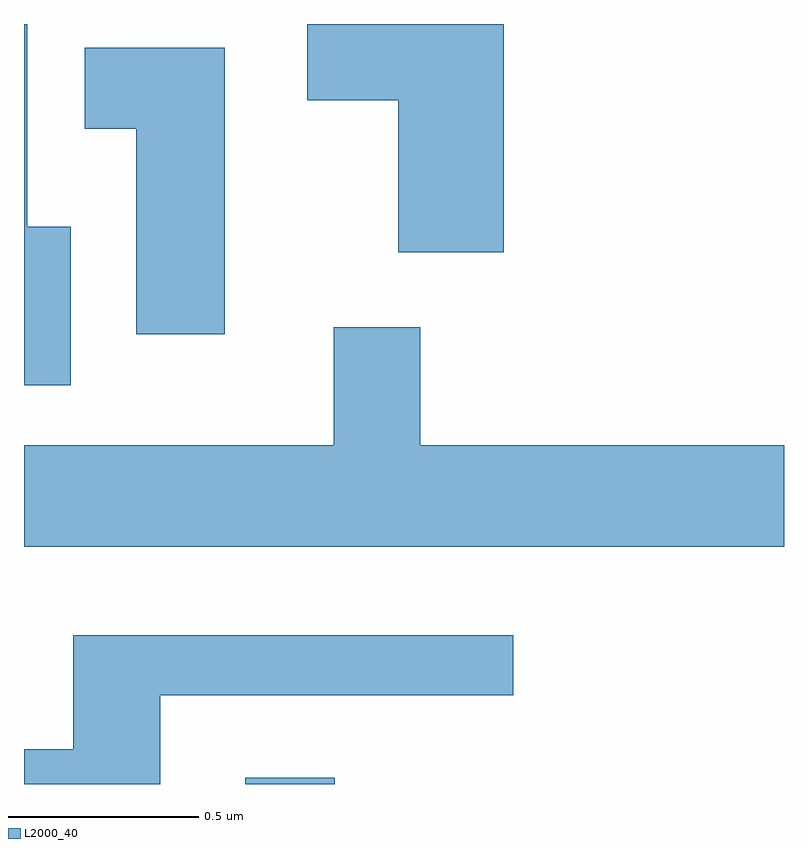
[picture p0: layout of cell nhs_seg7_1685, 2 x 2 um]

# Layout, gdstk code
import gdstk
lib = gdstk.Library(unit=1e-6, precision=1e-09)
def R(c, l, rs):  # rectangles x0, y0, x1, y1
    for r in rs: c.add(gdstk.rectangle(r[:2], r[2:], *l))
def P(c, l, *ps):  # polygons
    for p in ps: c.add(gdstk.Polygon(p, *l))
L2000_40 = (2000, 40)

nhs_seg7_1685 = lib.new_cell('nhs_seg7_1685')
R(nhs_seg7_1685, L2000_40, [(198.193,1709.252,198.429,1709.269)])
P(nhs_seg7_1685, L2000_40, [(197.734,1710.719),(197.619,1710.719),(197.619,1711.252),(197.611,1711.252),(197.611,1710.301),(197.734,1710.301)],
  [(198.874,1711.252),(198.356,1711.252),(198.356,1711.051),(198.596,1711.051),(198.596,1710.651),(198.874,1710.651)],
  [(198.139,1711.189),(197.771,1711.189),(197.771,1710.976),(197.906,1710.976),(197.906,1710.436),(198.139,1710.436)],
  [(199.611,1710.144),(198.654,1710.144),(198.654,1710.454),(198.426,1710.454),(198.426,1710.144),(197.611,1710.144),(197.611,1709.876),(199.611,1709.876)],
  [(197.969,1709.486),(198.898,1709.486),(198.898,1709.644),(197.741,1709.644),(197.741,1709.344),(197.611,1709.344),(197.611,1709.252),(197.969,1709.252)])

lib.write_gds('nhs_seg7_1685.gds')
